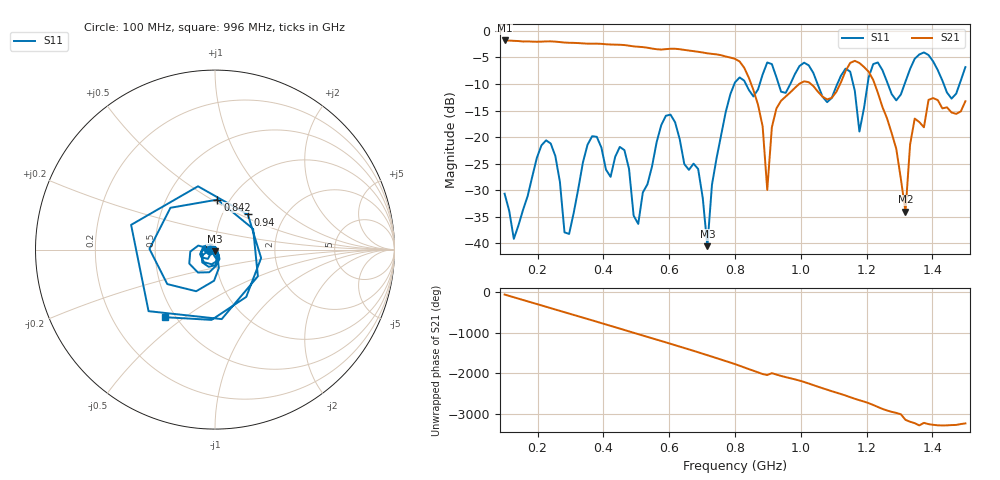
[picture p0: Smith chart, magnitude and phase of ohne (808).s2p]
! NanoVNA-App
! Date: 2025-09-25 14:27:05
! Start: 100MHz Stop: 1,5GHz Points: 101
! S-Parameter data: F S11 S21 S12 S22
# Hz S RI R 50
!  Frequency  S11_Real  S11_Imag  S21_Real  S21_Imag  S12_Real  S12_Imag  S22_Real  S22_Imag
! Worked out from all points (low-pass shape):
!   101 points, 100 MHz to 1.5 GHz, reference 50 ohm
!   highest |S21| = -1.79 dB at 100 MHz (marker M1); lowest = -34.0 dB at 1.318 GHz (marker M2)
!   |S21| within 3 dB of the highest: start of sweep to 770.8 MHz
!   lowest |S11| = -40.5 dB at 716 MHz (marker M3), VSWR 1.02, Z = 49.9 - j0.93 ohm
!   |S11| at or under -10 dB: start of sweep to 798 MHz; 833.2 MHz to 875 MHz (41.86 MHz wide, 4.9 % of centre); 1.051 GHz to 1.111 GHz (59.85 MHz wide, 5.54 % of centre) (the widest 3 of 7)
!   S12 and S22 are empty: the file has one direction only
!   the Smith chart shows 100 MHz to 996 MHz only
!   S11 on the Smith chart (normalised r, x): 100 MHz: 0.94, -0.01; 842 MHz: 0.88, +0.53; 940 MHz: 1.32, +0.55; 996 MHz: 0.44, -0.43
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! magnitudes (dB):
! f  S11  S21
! 100 MHz  -30.6  -1.8
! 128 MHz  -39.1  -1.9
! 226 MHz  -20.6  -2.0
! 296 MHz  -38.2  -2.2
! 338 MHz  -24.7  -2.3
! 464 MHz  -22.4  -2.7
! 506 MHz  -36.3  -3.0
! 576 MHz  -17.7  -3.5
! 688 MHz  -26.0  -3.9
! 716 MHz  -40.5  -4.2
! 800 MHz  -9.7  -5.2
! 842 MHz  -11.1  -8.8
! 898 MHz  -5.9  -29.9
! 940 MHz  -11.4  -13.1
! 996 MHz  -6.6  -9.9
! 1.038 GHz  -7.9  -10.4
! 1.178 GHz  -18.9  -6.0
! 1.22 GHz  -6.2  -9.2
! 1.276 GHz  -11.9  -19.2
! 1.318 GHz  -9.5  -34.0
! 1.346 GHz  -5.2  -16.5
! 1.5 GHz  -6.8  -13.2
